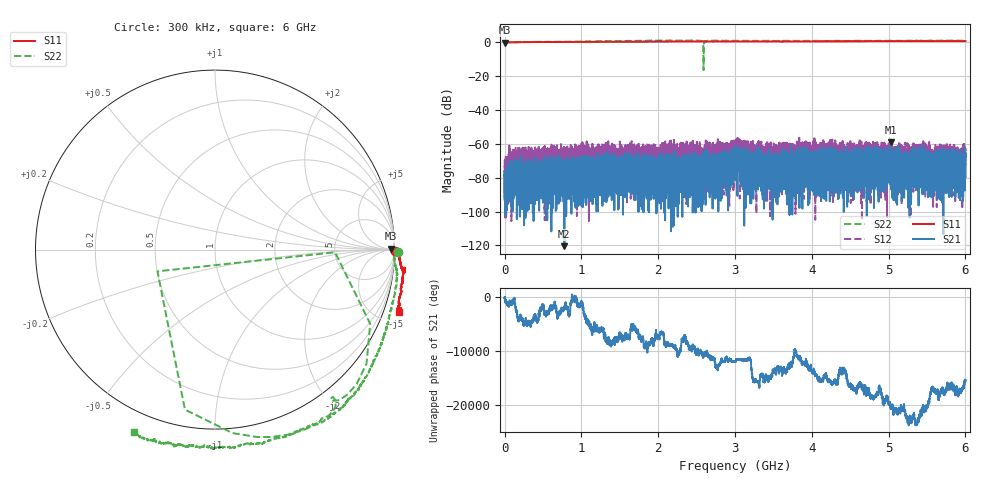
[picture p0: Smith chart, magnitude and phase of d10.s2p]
!Agilent Technologies,N5230C,SG49000117,A.08.50.07
!Agilent N5230C: A.08.50.07
!Date: Friday, May 17, 2024 03:35:55
!Correction: S11(Full 2 Port(1,2))
!S21(Full 2 Port(1,2))
!S12(Full 2 Port(1,2))
!S22(Full 2 Port(1,2))
!S2P File: Measurements: S11, S21, S12, S22:
# Hz S  MA  R 50
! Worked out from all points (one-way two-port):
!   20001 points, 300 kHz to 6 GHz, reference 50 ohm
!   highest |S21| = -59.19 dB at 5.032 GHz (marker M1); lowest = -120.5 dB at 778.5 MHz (marker M2)
!   lowest |S11| = -0.2 dB at 600 kHz (marker M3), VSWR 114.09, Z = 5.19e+03 + j1.64e+03 ohm
!   |S11| at or under -10 dB: nowhere
!   |S22| runs from -16.5 to 1.1 dB; largest |S21 - S12| = 0.0017
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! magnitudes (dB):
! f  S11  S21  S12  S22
! 300 kHz  0.0  -78.7  -69.5  0.2
! 600 kHz  -0.2  -78.1  -76.3  -0.3
! 30.6 MHz  0.0  -80.5  -76.0  0.0
! 202.5 MHz  0.1  -75.1  -71.5  0.1
! 778.5 MHz  0.2  -120.5  -74.5  0.4
! 1 GHz  0.3  -68.2  -80.6  0.5
! 2 GHz  0.5  -74.0  -87.1  1.0
! 2.183 GHz  0.5  -84.9  -65.1  1.1
! 2.562 GHz  0.5  -77.7  -69.0  0.9
! 2.629 GHz  0.5  -73.9  -71.8  0.6
! 2.796 GHz  0.5  -68.0  -70.7  0.9
! 3 GHz  0.5  -68.9  -59.8  0.9
! 3.379 GHz  0.5  -74.5  -76.7  0.9
! 4 GHz  0.5  -72.8  -71.6  0.9
! 4.204 GHz  0.6  -68.1  -67.7  0.8
! 4.463 GHz  0.7  -80.1  -80.7  0.8
! 4.723 GHz  0.7  -70.6  -71.6  0.9
! 4.892 GHz  0.7  -75.9  -79.6  0.9
! 5 GHz  0.7  -78.7  -59.8  0.9
! 5.032 GHz  0.7  -59.2  -66.3  0.9
! 5.925 GHz  0.7  -73.6  -69.0  1.0
! 6 GHz  0.7  -66.7  -69.0  0.9
